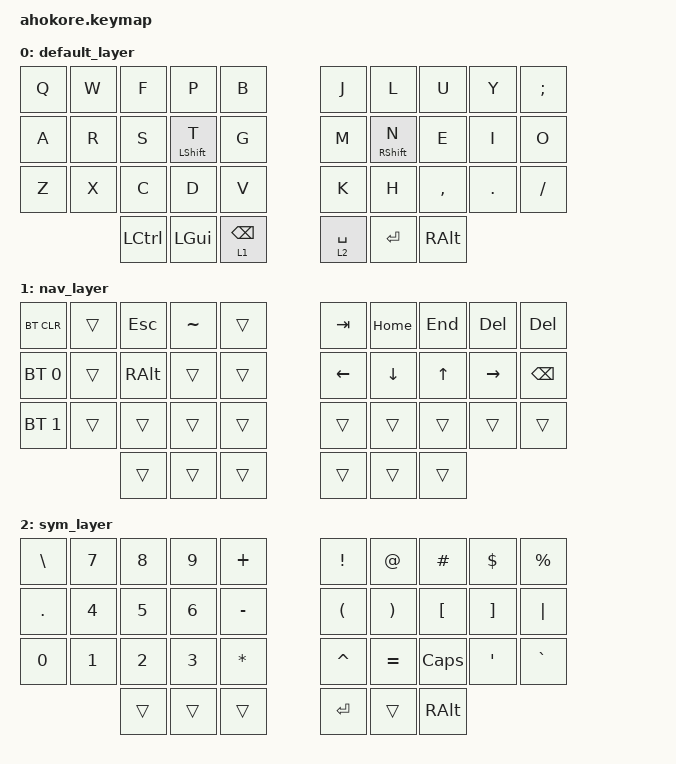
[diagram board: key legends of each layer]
/*
 * Copyright (c) 2020 The ZMK Contributors
 *
 * SPDX-License-Identifier: MIT
 */

#include <behaviors.dtsi>
#include <dt-bindings/zmk/keys.h>
#include <dt-bindings/zmk/bt.h>

#define default_layer 0
#define nav_layer   1
#define sym_layer   2

&mt {
    tapping_term_ms = <200>;
};

/ {
        keymap {
                compatible = "zmk,keymap";

                default_layer {

                        bindings = <
   &kp Q &kp W &kp F &kp P        &kp B         &kp J &kp L         &kp U      &kp Y   &kp SCLN
   &kp A &kp R &kp S &mt LSHIFT T &kp G         &kp M &mt RSHIFT N  &kp E      &kp I   &kp O
   &kp Z &kp X &kp C &kp D        &kp V         &kp K &kp H         &kp COMMA  &kp DOT &kp FSLH
          &kp LCTRL &kp LGUI &lt 1 BSPC         &lt 2 SPC &kp RET &kp RALT
                        >;
                };
                nav_layer {

                        bindings = <
   &bt BT_CLR   &trans  &kp ESC  &kp TILDE &trans     &kp TAB   &kp HOME  &kp END &kp DEL   &kp DEL
   &bt BT_SEL 0 &trans  &kp RALT &trans   &trans      &kp LEFT  &kp DOWN  &kp UP  &kp RIGHT &kp BSPC
   &bt BT_SEL 1 &trans  &trans   &trans   &trans      &trans    &trans    &trans   &trans    &trans
                        &trans   &trans   &trans      &trans   &trans   &trans
                        >;
                };

                sym_layer {
                
                        bindings = <
   &kp BSLH  &kp N7    &kp N8    &kp N9    &kp PLUS       &kp EXCL     &kp AT     &kp HASH  &kp DLLR &kp PRCNT
   &kp DOT   &kp N4    &kp N5    &kp N6    &kp MINUS      &kp LPAR     &kp RPAR   &kp LBKT  &kp RBKT &kp PIPE
   &kp N0    &kp N1    &kp N2    &kp N3    &kp STAR       &kp CARET    &kp EQUAL  &kp CAPS  &kp SQT  &kp GRAVE
                       &trans    &trans    &trans         &kp RET   &trans   &kp RALT
                        >;
                };
              };
          };
